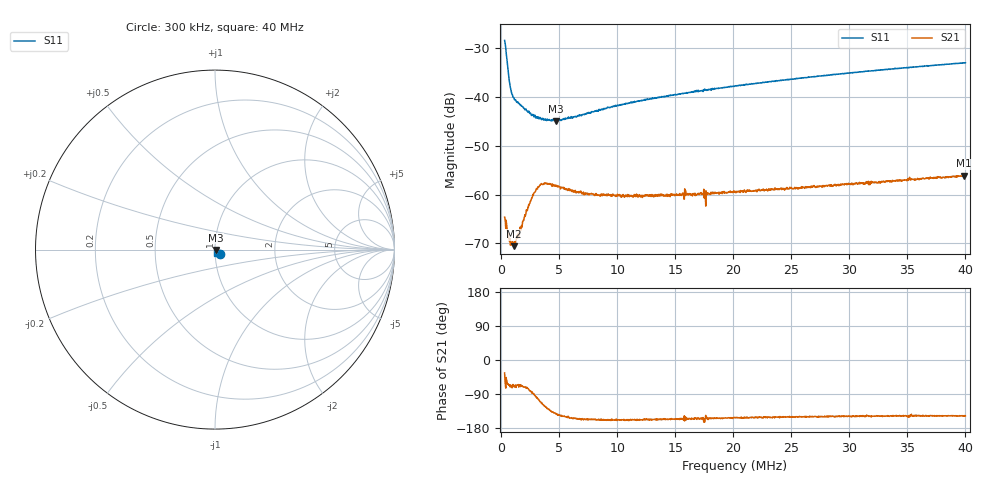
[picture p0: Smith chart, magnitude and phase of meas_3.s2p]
# HZ S RI R 50
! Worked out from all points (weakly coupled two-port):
!   1206 points, 300 kHz to 40 MHz, reference 50 ohm
!   highest |S21| = -56.11 dB at 39.9 MHz (marker M1); lowest = -70.6 dB at 1.091 MHz (marker M2)
!   lowest |S11| = -45.0 dB at 4.748 MHz (marker M3), VSWR 1.01, Z = 50.5 - j0.264 ohm
!   |S11| at or under -10 dB: start of sweep to end of sweep
!   S12 and S22 are empty: the file has one direction only
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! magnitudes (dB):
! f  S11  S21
! 300 kHz  -28.5  -64.6
! 431.8 kHz  -31.0  -65.2
! 662.4 kHz  -35.9  -69.0
! 794.2 kHz  -38.1  -70.3
! 926 kHz  -39.5  -70.3
! 1.091 MHz  -40.2  -70.6
! 1.618 MHz  -41.5  -66.7
! 2.343 MHz  -43.2  -62.6
! 3.002 MHz  -44.3  -59.1
! 3.595 MHz  -44.5  -57.9
! 4.748 MHz  -45.0  -58.1
! 6.922 MHz  -43.9  -59.6
! 10.55 MHz  -41.5  -60.2
! 13.54 MHz  -40.2  -60.0
! 17.33 MHz  -38.7  -59.8
! 17.7 MHz  -38.6  -60.2
! 18.29 MHz  -38.4  -59.6
! 20.17 MHz  -37.7  -59.4
! 26.79 MHz  -35.9  -58.3
! 33.41 MHz  -34.3  -57.2
! 39.9 MHz  -33.1  -56.1
! 40 MHz  -33.1  -56.2
